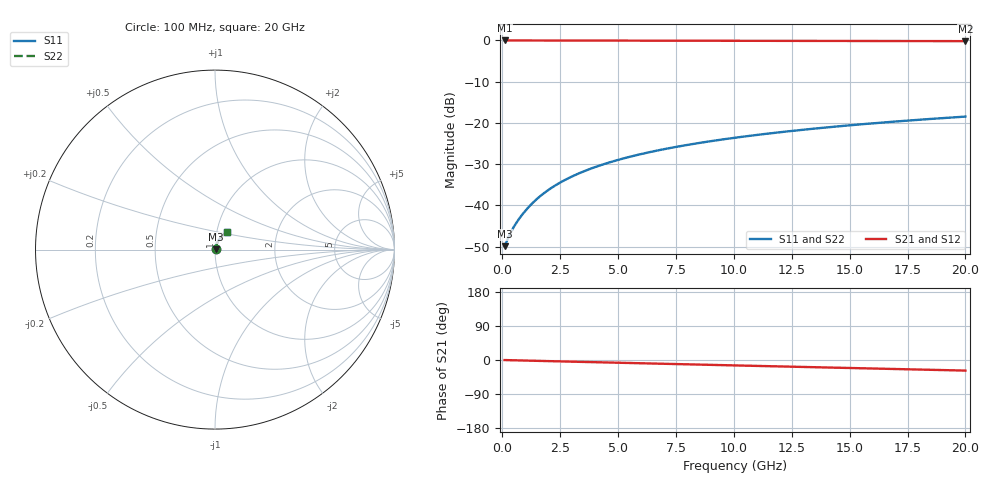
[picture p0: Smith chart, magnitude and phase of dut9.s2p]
! Touchstone file exported from HFSS 2026.1.0
!  File:  C:/ffzhzh/LocalFiles/Ansys_Project_Files/temp_train_BSMRDL_9_1782881845_13352.aedt
!  Generated:  12:58:37 PM Jul  1, 2026
!  Design:  BSMRDL
!  Project:  temp_train_BSMRDL_9_1782881845_13352
! Variables:
!  h_bsmrdl = 4.64um
!  h_ox = 20um
!  h_rdl = 5um
!  h_sub = 80um
!  h_tmrdl = 5um
!  h_tsv = 80um
!  h_via = 3um
!  l_bsmrdl = 490.77um
!  l_sub = 890.77um
!  l_tmrdl = 200um
!  m_sub = 200um
!  pitch = 19.78um
!  r_tsv = 6um
!  s_tmrdl = 10um
!  w_bsmrdl = 12.82um
!  w_sub = 500um
!  w_tmrdl = 12um
!  x_tsv_center1 = 206um
!  x_tsv_center2 = 709.59um
!  x_tsv_center3 = 921.59um
!  x_tsv_center4 = 1425.18um
!  x_tsv_center5 = 1637.18um
!  x_tsv_center6 = 2140.77um
# GHz S MA R 50.000000
! Terminal data exported
! Port[1] = BSM_RDL1_1_T1
! Port[2] = BSM_RDL1_1_T2
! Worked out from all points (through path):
!   200 points, 100 MHz to 20 GHz, reference 50 ohm
!   highest |S21| = -0.03 dB at 100 MHz (marker M1); lowest = -0.2 dB at 20 GHz (marker M2)
!   group delay of S21, straight-line fit = 3.86 ps
!   lowest |S11| = -49.9 dB at 100 MHz (marker M3), VSWR 1.01, Z = 50.3 + j0.0989 ohm
!   |S11| at or under -10 dB: start of sweep to end of sweep
!   |S22| runs from -49.9 to -18.5 dB; largest |S21 - S12| = 2e-15
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0.1  0.003198 17.9  0.997 -0.2  0.997 -0.2  0.003198 17.9
! Gamma 0 0 0 0
! Port Impedance 50 0 50 0
0.3  0.004312 37.8  0.9966 -0.5  0.9966 -0.5  0.004311 37.8
0.4  0.004902 43.4  0.9965 -0.6  0.9965 -0.6  0.0049 43.4
0.6  0.006088 51.5  0.9962 -0.9  0.9962 -0.9  0.006086 51.5
0.8  0.007324 57.1  0.9961 -1.2  0.9961 -1.2  0.007323 57.1
1  0.008613 61.2  0.9959 -1.5  0.9959 -1.5  0.008612 61.2
1.2  0.009941 64.1  0.9958 -1.8  0.9958 -1.8  0.009941 64.2
1.4  0.01129 66.3  0.9957 -2.1  0.9957 -2.1  0.0113 66.3
1.8  0.01404 69.1  0.9955 -2.7  0.9955 -2.7  0.01404 69.1
2.3  0.0175 71.0  0.9951 -3.4  0.9951 -3.4  0.0175 71.0
2.9  0.02163 72.0  0.9946 -4.2  0.9946 -4.2  0.02163 72.0
3.5  0.02569 72.3  0.9941 -5.1  0.9941 -5.1  0.02569 72.3
4.2  0.03035 72.1  0.9934 -6.1  0.9934 -6.1  0.03035 72.1
5  0.03555 71.6  0.9925 -7.2  0.9925 -7.2  0.03555 71.6
5.9  0.04125 70.9  0.9916 -8.5  0.9916 -8.5  0.04126 70.9
6.8  0.04682 70.0  0.9906 -9.8  0.9906 -9.8  0.04682 70.0
8.3  0.05583 68.4  0.989 -11.9  0.989 -11.9  0.05583 68.4
10.1  0.06628 66.4  0.9872 -14.4  0.9872 -14.4  0.06628 66.4
11.7  0.07532 64.7  0.9857 -16.6  0.9857 -16.6  0.07532 64.7
13.4  0.08469 62.7  0.9841 -18.9  0.9841 -18.9  0.08469 62.7
16.7  0.1023 58.9  0.981 -23.4  0.981 -23.4  0.1023 58.9
20  0.119 55.0  0.9779 -27.9  0.9779 -27.9  0.119 55.0
